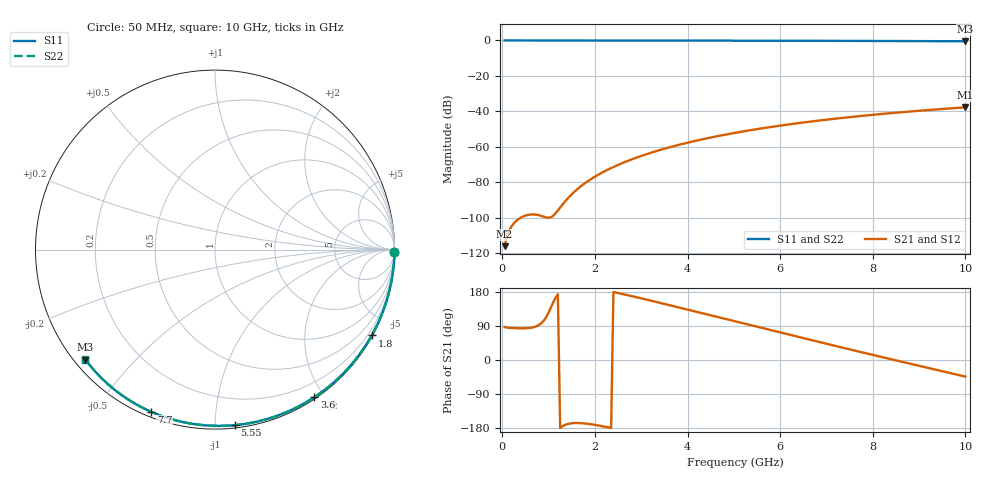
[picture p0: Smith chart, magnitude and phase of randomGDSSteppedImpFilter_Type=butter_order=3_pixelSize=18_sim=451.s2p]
! freq	dB(S11)	phase(S11)	dB(S12)	phase(S12)
!  dB(S21)	phase(S21)	dB(S22)	phase(S22)
!S-par simulation data
#  GHz  S  DB  R 50
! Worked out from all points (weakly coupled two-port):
!   200 points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, 50 MHz to 10 GHz, reference 50 ohm
!   highest |S21| = -37.77 dB at 10 GHz (marker M1); lowest = -116.2 dB at 50 MHz (marker M2)
!   lowest |S11| = -0.5 dB at 10 GHz (marker M3), VSWR 36.76, Z = 1.54 - j18.4 ohm
!   |S11| at or under -10 dB: nowhere
!   |S22| runs from -0.5 to 0.0 dB; largest |S21 - S12| = 0
!   S11 on the Smith chart (normalised r, x): 50 MHz: open; 1.8 GHz: 0.03, -3.91; 3.6 GHz: 0.02, -1.88; 5.55 GHz: 0.02, -1.12; 7.7 GHz: 0.02, -0.68; 10 GHz: 0.03, -0.37
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0.05  -0.00 -0.8  -116.18 87.2  -116.18 87.2  -0.00 -0.8
0.45  -0.01 -7.3  -99.40 83.5  -99.40 83.5  -0.01 -7.3
0.9  -0.02 -14.5  -99.61 104.7  -99.61 104.7  -0.02 -14.5
1.75  -0.04 -27.9  -81.29 -167.1  -81.29 -167.1  -0.04 -28.0
1.8  -0.04 -28.7  -80.34 -167.8  -80.34 -167.8  -0.04 -28.8
1.85  -0.04 -29.5  -79.44 -168.5  -79.44 -168.5  -0.04 -29.5
2  -0.04 -31.8  -76.95 -171.2  -76.95 -171.2  -0.04 -31.9
2.15  -0.04 -34.1  -74.71 -174.5  -74.71 -174.5  -0.04 -34.2
2.35  -0.05 -37.2  -72.07 -179.3  -72.07 -179.3  -0.05 -37.3
2.55  -0.05 -40.3  -69.72 175.4  -69.72 175.4  -0.05 -40.4
2.95  -0.06 -46.4  -65.68 164.2  -65.68 164.2  -0.06 -46.5
3.4  -0.07 -53.1  -61.90 151.0  -61.90 151.0  -0.07 -53.2
3.6  -0.08 -56.0  -60.42 145.0  -60.42 145.0  -0.08 -56.1
4.3  -0.09 -66.2  -55.94 123.9  -55.94 123.9  -0.09 -66.3
5.05  -0.12 -76.7  -52.06 101.1  -52.06 101.1  -0.12 -76.8
5.55  -0.14 -83.5  -49.87 86.0  -49.87 86.0  -0.14 -83.7
6.1  -0.16 -90.9  -47.73 69.5  -47.73 69.5  -0.16 -91.0
6.7  -0.19 -98.7  -45.67 51.6  -45.67 51.6  -0.19 -98.9
7.7  -0.26 -111.4  -42.76 22.2  -42.76 22.2  -0.26 -111.6
8.35  -0.31 -119.5  -41.14 3.3  -41.14 3.3  -0.31 -119.7
9.2  -0.38 -129.9  -39.29 -21.0  -39.29 -21.0  -0.39 -130.1
10  -0.47 -139.7  -37.77 -43.8  -37.77 -43.8  -0.47 -139.8
